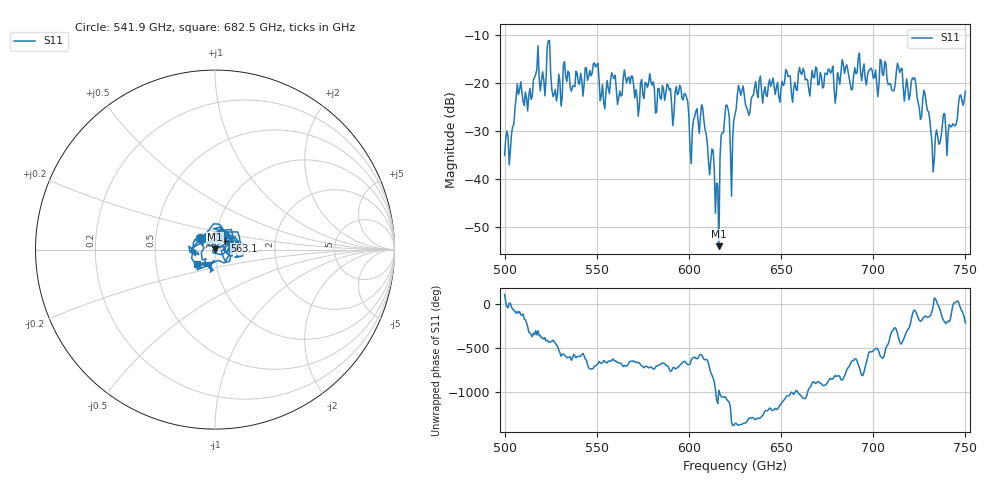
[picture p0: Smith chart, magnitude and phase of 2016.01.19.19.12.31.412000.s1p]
!Created with skrf (http://scikit-rf.org).
# GHz S RI R 50.0
!freq ReS11 ImS11
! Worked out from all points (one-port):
!   401 points, 500 GHz to 750 GHz, reference 50 ohm
!   lowest |S11| = -54.0 dB at 616.2 GHz (marker M1), VSWR 1.00, Z = 50 + j0.198 ohm
!   |S11| at or under -10 dB: start of sweep to end of sweep
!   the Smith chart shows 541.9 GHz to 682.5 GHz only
!   S11 on the Smith chart (normalised r, x): 541.9 GHz: 0.84, +0.11; 563.1 GHz: 1.11, +0.11; 682.5 GHz: 0.81, -0.13
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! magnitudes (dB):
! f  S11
! 500 GHz  -35.1
! 503.8 GHz  -30.7
! 507.5 GHz  -22.5
! 513.8 GHz  -21.2
! 516.9 GHz  -18.2
! 531.2 GHz  -23.0
! 541.9 GHz  -19.5
! 549.4 GHz  -16.7
! 553.1 GHz  -20.3
! 562.5 GHz  -21.7
! 563.1 GHz  -22.7
! 593.8 GHz  -22.4
! 601.2 GHz  -36.8
! 607.5 GHz  -25.3
! 615 GHz  -40.9
! 616.2 GHz  -54.0
! 619.4 GHz  -27.5
! 623.1 GHz  -43.6
! 625 GHz  -26.6
! 628.1 GHz  -22.6
! 656.2 GHz  -24.1
! 682.5 GHz  -17.8
! 687.5 GHz  -20.3
! 714.4 GHz  -17.8
! 718.8 GHz  -21.0
! 728.8 GHz  -24.3
! 732.5 GHz  -38.6
! 750 GHz  -21.8
